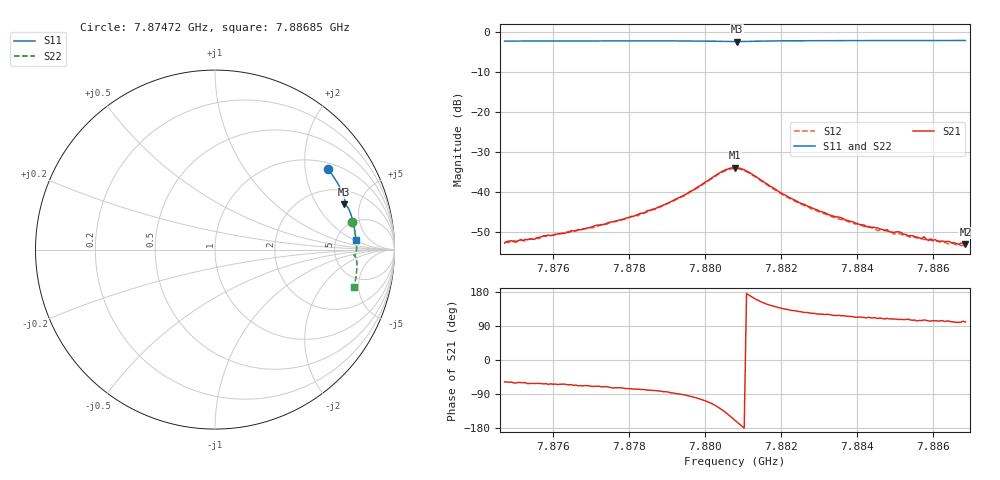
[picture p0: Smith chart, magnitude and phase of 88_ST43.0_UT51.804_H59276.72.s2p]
#  HZ  S  DB  R  50.00
! Rohde & Schwarz Vector Network Analyzer
! Rohde-Schwarz,ZNB20-2Port,1311601062101988,3.16
! Created: UTC 1/12/2023, 6:35:44 PM
! freq[Hz]  db:S11  ang:S11  db:S21  ang:S21  db:S12  ang:S12  db:S22  ang:S22
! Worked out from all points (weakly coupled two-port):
!   201 points, 7.87472 GHz to 7.88685 GHz, reference 50 ohm
!   highest |S21| = -33.88 dB at 7.88079 GHz (marker M1); lowest = -53.0 dB at 7.88685 GHz (marker M2)
!   lowest |S11| = -2.3 dB at 7.88085 GHz (marker M3), VSWR 7.45, Z = 147 + j178 ohm
!   |S11| at or under -10 dB: nowhere
!   |S22| runs from -2.2 to -1.9 dB; largest |S21 - S12| = 0.0013
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7.874722e9  -2.23 35.3  -52.71 -57.8  -52.49 -60.2  -2.15 11.3
7.875268e9  -2.22 33.8  -51.76 -59.9  -52.17 -63.6  -2.13 10.0
7.875511e9  -2.22 33.2  -51.77 -62.0  -51.39 -65.5  -2.12 9.4
7.875632e9  -2.21 32.8  -51.26 -61.8  -51.59 -63.9  -2.12 9.0
7.876785e9  -2.20 29.7  -49.17 -68.5  -49.30 -70.4  -2.10 6.4
7.877816e9  -2.19 26.8  -46.85 -73.7  -46.84 -76.2  -2.07 4.0
7.878786e9  -2.18 24.2  -43.64 -81.6  -43.86 -86.1  -2.06 1.7
7.879514e9  -2.20 22.1  -40.41 -93.6  -40.58 -97.1  -2.06 -0.1
7.880424e9  -2.30 19.7  -34.92 -130.0  -35.12 -133.2  -2.17 -2.2
7.880788e9  -2.34 19.3  -33.88 -159.3  -34.04 -162.7  -2.22 -2.4
7.880848e9  -2.35 19.3  -33.92 -164.4  -34.07 -168.0  -2.22 -2.4
7.881152e9  -2.29 18.9  -34.99 171.5  -35.17 168.0  -2.17 -2.5
7.882122e9  -2.16 16.4  -40.74 134.0  -41.11 130.5  -2.02 -4.6
7.88285e9  -2.13 14.3  -44.07 123.2  -44.24 119.4  -1.99 -6.4
7.884063e9  -2.11 11.1  -48.05 113.4  -48.29 109.6  -1.96 -9.2
7.884852e9  -2.10 9.0  -49.89 108.3  -50.04 107.1  -1.94 -10.9
7.885094e9  -2.10 8.4  -49.88 106.8  -50.31 103.4  -1.94 -11.4
7.885701e9  -2.09 6.8  -51.57 104.0  -51.64 102.4  -1.93 -12.7
7.885761e9  -2.09 6.6  -51.13 105.8  -51.79 100.1  -1.93 -12.9
7.885883e9  -2.09 6.3  -52.06 103.0  -51.75 101.4  -1.93 -13.1
7.885943e9  -2.09 6.1  -51.66 102.5  -52.01 101.9  -1.93 -13.3
7.886853e9  -2.08 3.8  -53.04 100.5  -53.48 96.4  -1.93 -15.3
